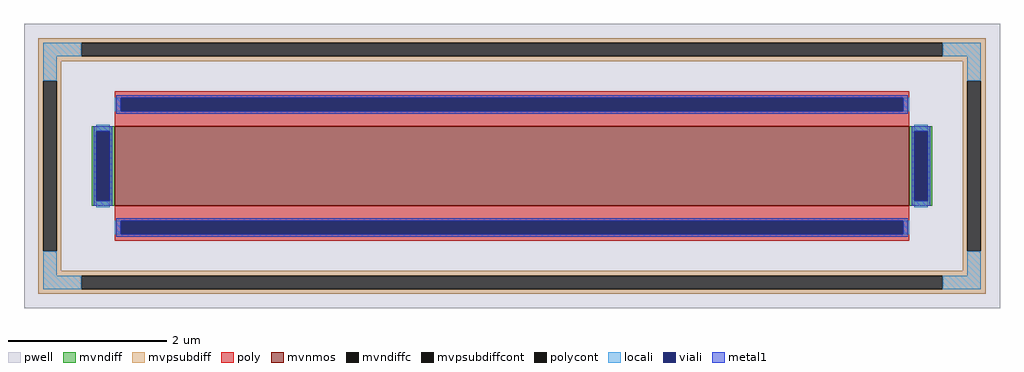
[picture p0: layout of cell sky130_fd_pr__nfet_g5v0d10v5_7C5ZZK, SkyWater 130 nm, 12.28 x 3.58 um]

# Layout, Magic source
magic
tech sky130A
<< pwell >>
rect -614 -179 614 179
<< mvnmos >>
rect -500 -50 500 50
<< mvndiff >>
rect -529 44 -500 50
rect -529 -44 -523 44
rect -506 -44 -500 44
rect -529 -50 -500 -44
rect 500 44 529 50
rect 500 -44 506 44
rect 523 -44 529 44
rect 500 -50 529 -44
<< mvndiffc >>
rect -523 -44 -506 44
rect 506 -44 523 44
<< mvpsubdiff >>
rect -596 155 596 161
rect -596 138 -542 155
rect 542 138 596 155
rect -596 132 596 138
rect -596 107 -567 132
rect -596 -107 -590 107
rect -573 -107 -567 107
rect 567 107 596 132
rect -596 -132 -567 -107
rect 567 -107 573 107
rect 590 -107 596 107
rect 567 -132 596 -107
rect -596 -138 596 -132
rect -596 -155 -542 -138
rect 542 -155 596 -138
rect -596 -161 596 -155
<< mvpsubdiffcont >>
rect -542 138 542 155
rect -590 -107 -573 107
rect 573 -107 590 107
rect -542 -155 542 -138
<< poly >>
rect -500 86 500 94
rect -500 69 -492 86
rect 492 69 500 86
rect -500 50 500 69
rect -500 -69 500 -50
rect -500 -86 -492 -69
rect 492 -86 500 -69
rect -500 -94 500 -86
<< polycont >>
rect -492 69 492 86
rect -492 -86 492 -69
<< locali >>
rect -590 138 -542 155
rect 542 138 590 155
rect -590 107 -573 138
rect 573 107 590 138
rect -500 69 -492 86
rect 492 69 500 86
rect -523 44 -506 52
rect -523 -52 -506 -44
rect 506 44 523 52
rect 506 -52 523 -44
rect -500 -86 -492 -69
rect 492 -86 500 -69
rect -590 -138 -573 -107
rect 573 -138 590 -107
rect -590 -155 -542 -138
rect 542 -155 590 -138
<< viali >>
rect -492 69 492 86
rect -523 -44 -506 44
rect 506 -44 523 44
rect -492 -86 492 -69
<< metal1 >>
rect -498 86 498 89
rect -498 69 -492 86
rect 492 69 498 86
rect -498 66 498 69
rect -526 44 -503 50
rect -526 -44 -523 44
rect -506 -44 -503 44
rect -526 -50 -503 -44
rect 503 44 526 50
rect 503 -44 506 44
rect 523 -44 526 44
rect 503 -50 526 -44
rect -498 -69 498 -66
rect -498 -86 -492 -69
rect 492 -86 498 -69
rect -498 -89 498 -86
<< properties >>
string FIXED_BBOX -581 -146 581 146
string gencell sky130_fd_pr__nfet_g5v0d10v5
string library sky130
string parameters w 1 l 10 m 1 nf 1 diffcov 100 polycov 100 guard 1 glc 1 grc 1 gtc 1 gbc 1 tbcov 100 rlcov 100 topc 1 botc 1 poverlap 0 doverlap 1 lmin 0.50 wmin 0.42 compatible {sky130_fd_pr__nfet_01v8 sky130_fd_pr__nfet_01v8_lvt  sky130_fd_bs_flash__special_sonosfet_star  sky130_fd_pr__nfet_g5v0d10v5 sky130_fd_pr__nfet_05v0_nvt  sky130_fd_pr__nfet_03v3_nvt} full_metal 1 viasrc 100 viadrn 100 viagate 100 viagb 0 viagr 0 viagl 0 viagt 0
<< end >>
